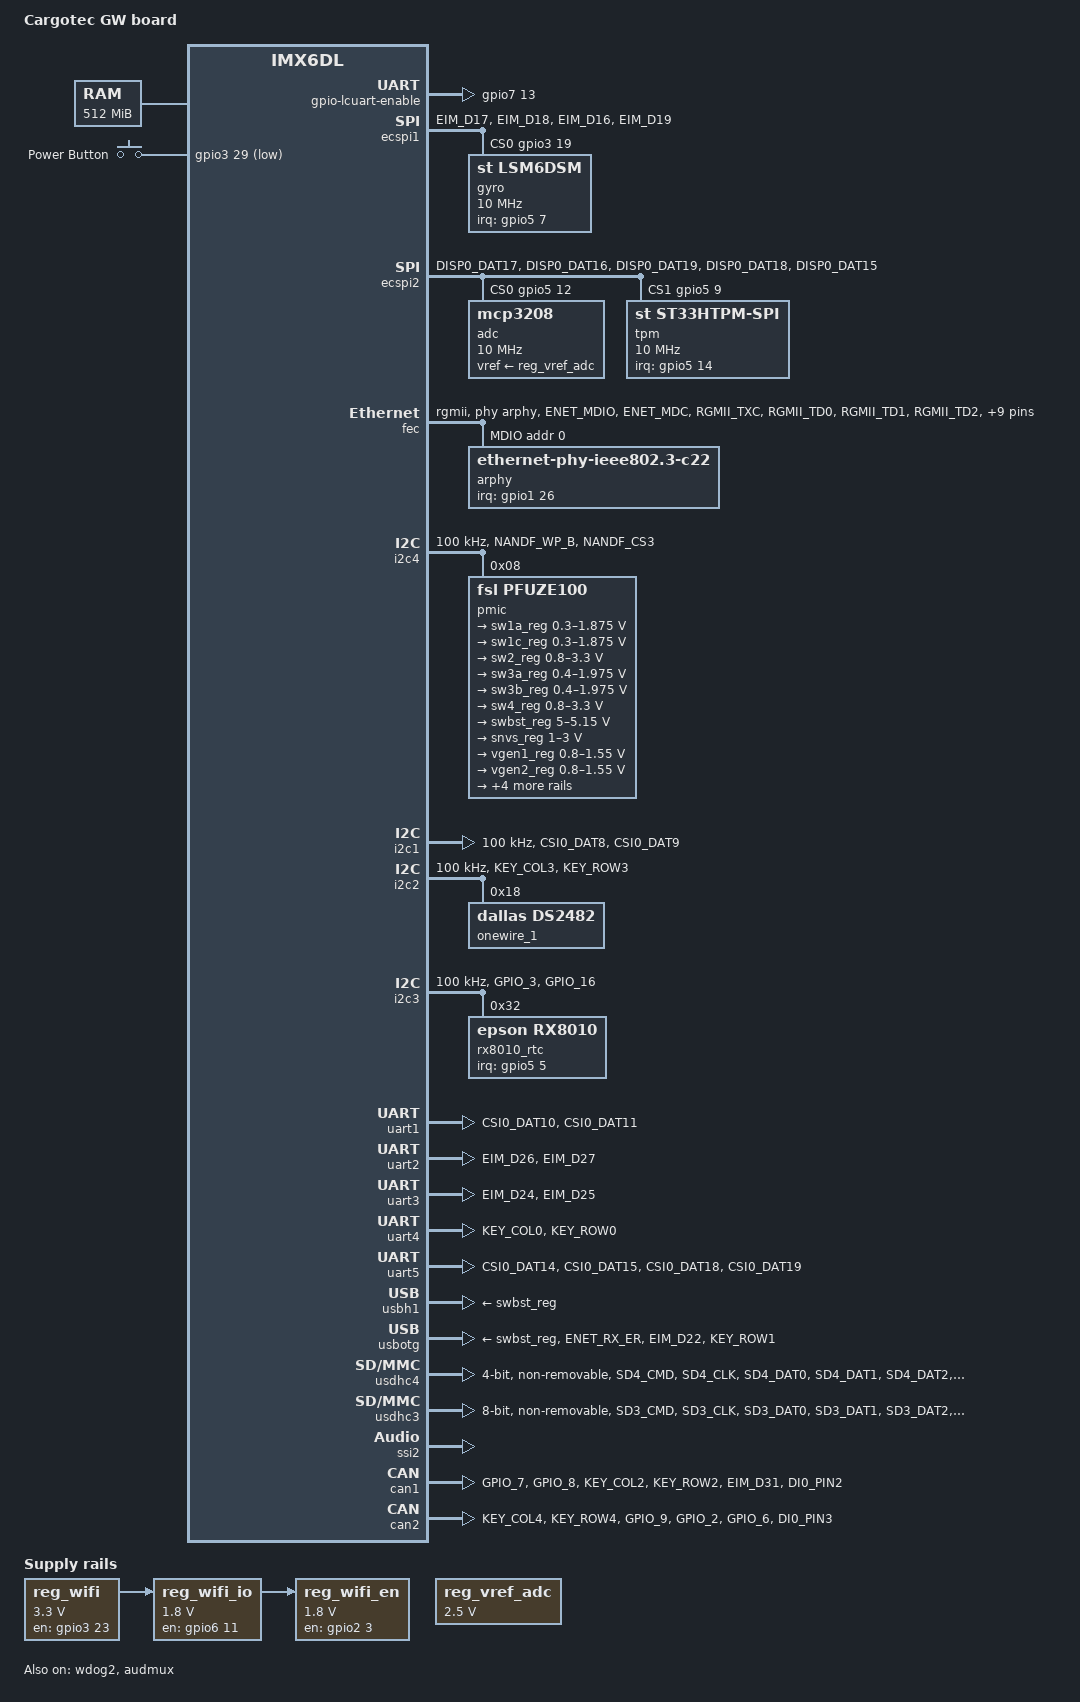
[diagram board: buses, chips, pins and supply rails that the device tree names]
/*
 * Copyright DATA RESPONS AS
 *
 * The code contained herein is licensed under the GNU General Public
 * License. You may obtain a copy of the GNU General Public License
 * Version 2 or later at the following locations:
 *
 * http://www.opensource.org/licenses/gpl-license.html
 * http://www.gnu.org/copyleft/gpl.html
 */

/dts-v1/;

#include "imx6dl.dtsi"
#include <dt-bindings/pwm/pwm.h>
#include <dt-bindings/gpio/gpio.h>

/ {
    model = "Cargotec GW board";
    compatible = "datarespons,laerdal2", "fsl,imx6dl";

    aliases {
        mmc0 = &usdhc3;
        mmc1 = &usdhc4;
        rtc0 = &rx8010_rtc;
    };

    memory {
        reg = <0x10000000 0x20000000>;
    };


    regulators {
        compatible = "simple-bus";


        reg_wifi: wifi_pwr {
            compatible = "regulator-fixed";
            regulator-name = "reg_wifi";
            regulator-min-microvolt = <3300000>;
            regulator-max-microvolt = <3300000>;
            gpio = <&gpio3 23 0>;
            enable-active-high;
            regulator-always-on;
        };

        reg_wifi_io: wifi_pwr_io {
            compatible = "regulator-fixed";
            regulator-name = "reg_wifi_io";
            regulator-min-microvolt = <1800000>;
            regulator-max-microvolt = <1800000>;
            gpio = <&gpio6 11 0>;
            enable-active-high;
            vin-supply = <&reg_wifi>;
            startup-delay-us = <100>;
            regulator-always-on;
        };

        reg_wifi_en: wifi_enable {
            compatible = "regulator-fixed";
            regulator-name = "reg_wifi_enable";
            regulator-min-microvolt = <1800000>;
            regulator-max-microvolt = <1800000>;
            gpio = <&gpio2 3 0>;
            enable-active-high;
            vin-supply = <&reg_wifi_io>;
            startup-delay-us = <300>;
            regulator-always-on;
        };

/*
        reg_bt_en: bt_enable {
            compatible = "regulator-fixed";
            regulator-name = "reg_bt_enable";
            regulator-min-microvolt = <1800000>;
            regulator-max-microvolt = <1800000>;
            gpio = <&gpio2 4 0>;
            enable-active-high;
            vin-supply = <&reg_wifi_io>;
            startup-delay-us = <300>;
            regulator-always-on;
        };
*/
	reg_vref_adc: regulator-vref-adc {
		compatible = "regulator-fixed";
		regulator-name = "vref-adc";
		regulator-min-microvolt = <2500000>;
		regulator-max-microvolt = <2500000>;
	};

    };

    gpio-keys {
        compatible = "gpio-keys";
        power {
            label = "Power Button";
            gpios = <&gpio3 29 GPIO_ACTIVE_LOW>;
            linux,code = <116>; /* KEY_POWER */
            gpio-key,wakeup;
        };

    };

    user-gpios {

        gpio-bt-enable {
            gpios = <&gpio2 4 GPIO_ACTIVE_HIGH>;
            status = "okay";
            value = <0>;
        };


        gpio-hw-setting2 {
            gpios = <&gpio4 21 GPIO_ACTIVE_HIGH>;
            status = "okay";
        };

        gpio-hw-setting1 {
            gpios = <&gpio4 22 GPIO_ACTIVE_HIGH>;
            status = "okay";
        };

        gpio-hw-setting0 {
            gpios = <&gpio4 23 GPIO_ACTIVE_HIGH>;
            status = "okay";
        };


        gpio-can1-en {
            gpios = <&gpio4 10 GPIO_ACTIVE_HIGH>;
            status = "okay";
            value = <0>;
        };

        gpio-can1-stb {
		gpios = <&gpio4 12 GPIO_ACTIVE_LOW>;
		status = "okay";
		value = <1>;
        };

        gpio-can1-resen {
		gpios = <&gpio3 31 GPIO_ACTIVE_HIGH>;
		status = "okay";
		value = <0>;
        };

        gpio-can1-wake {
		gpios = <&gpio4 18 GPIO_ACTIVE_HIGH>;
		status = "okay";
		value = <1>;
        };

        gpio-can2-en {
            gpios = <&gpio1 9 GPIO_ACTIVE_HIGH>;
            status = "okay";
            value = <0>;
        };

        gpio-can2-stb {
		gpios = <&gpio1 2 GPIO_ACTIVE_LOW>;
		status = "okay";
		value = <1>;
        };

        gpio-can2-resen {
		gpios = <&gpio1 6 GPIO_ACTIVE_HIGH>;
		status = "okay";
		value = <0>;
        };
        gpio-can2-wake {
		gpios = <&gpio4 19 GPIO_ACTIVE_HIGH>;
		status = "okay";
		value = <1>;
        };

        gpio-wlan-dev-wake {
            gpios = <&gpio2 7 GPIO_ACTIVE_HIGH>;
            status = "okay";
            value = <1>;
        };

        gpio-wifi-clk-req {
		gpios = <&gpio2 5 GPIO_ACTIVE_HIGH>;
		status = "okay";
		bidir;
        };

        gpio-wlan-host-wake {
            gpios = <&gpio2 6 GPIO_ACTIVE_HIGH>;
            status = "okay";
            bidir;
        };

        gpio-bt-host-wake {
            gpios = <&gpio6 7 GPIO_ACTIVE_LOW>;
            status = "okay";
            bidir;
        };

        gpio-bt-dev-wake {
            gpios = <&gpio6 8 GPIO_ACTIVE_LOW>;
            status = "okay";
            value = <1>;
        };

        gpio-phy-rst {
            gpios = <&gpio1 25 GPIO_ACTIVE_HIGH>;
            status = "okay";
            value = <1>;
        };

        gpio-tpm-nreset {
		gpios = <&gpio4 8 GPIO_ACTIVE_LOW>;
		status = "okay";
		value = <1>;
        };


        gpio-en-ani2 {
		gpios = <&gpio5 17 GPIO_ACTIVE_HIGH>;
		status = "okay";
		value = <0>;
        };

        gpio-en-ani1 {
		gpios = <&gpio5 16 GPIO_ACTIVE_HIGH>;
		status = "okay";
		value = <0>;
        };


        gpio-en-gpo1 {
		gpios = <&gpio4 24 GPIO_ACTIVE_HIGH>;
		status = "okay";
		value = <0>;
        };

        gpio-en-gpo2 {
		gpios = <&gpio4 25 GPIO_ACTIVE_HIGH>;
		status = "okay";
		value = <0>;
        };

        gpio-mcu-boot0 {
		gpios = <&gpio4 17 GPIO_ACTIVE_HIGH>;
		status = "okay";
        };

        gpio-gps-ant-en {
		gpios = <&gpio4 26 GPIO_ACTIVE_HIGH>;
		status = "okay";
		value = <0>;
        };

        gpio-nrst-wwan {
		gpios = <&gpio4 27 GPIO_ACTIVE_LOW>;
		status = "okay";
		value = <1>;
        };

        gpio-ndisable-wwan {
		gpios = <&gpio4 28 GPIO_ACTIVE_LOW>;
		status = "okay";
		value = <1>;
        };

        gpio-nwake-wwan {
		gpios = <&gpio4 29 GPIO_ACTIVE_LOW>;
		status = "okay";
        };

        gpio-led-wwan {
		gpios = <&gpio4 30 GPIO_ACTIVE_LOW>;
		status = "okay";
        };

        gpio-gpi1 {
		gpios = <&gpio1 12 GPIO_ACTIVE_HIGH>;
		status = "okay";
        };

        gpio-gpi2 {
		gpios = <&gpio1 14 GPIO_ACTIVE_HIGH>;
		status = "okay";
        };

        gpio-gpi3 {
		gpios = <&gpio1 13 GPIO_ACTIVE_HIGH>;
		status = "okay";
        };

        gpio-lcuart-enable {
		gpios = <&gpio7 13 GPIO_ACTIVE_HIGH>;
		value = <0>;
		status = "okay";
        };

        gpio-nint-mcu {
		gpios = <&gpio5 15 GPIO_ACTIVE_LOW>;
		value = <1>;
		status = "okay";
        };

    };

};


&ecspi1 {
    fsl,spi-num-chipselects = <1>;
    cs-gpios = <&gpio3 19 0>;
    pinctrl-names = "default";
    pinctrl-0 = <&pinctrl_ecspi1>;
    status = "okay";
    nodma;

	gyro: st-gyro-spi@0 {
		reg = <0>;
		compatible = "st,lsm6dsm";
		spi-max-frequency = <10000000>;
	interrupt-parent = <&gpio5>;
	interrupts = <7 IRQ_TYPE_EDGE_RISING>, <8 IRQ_TYPE_EDGE_RISING>;
	};
};

&ecspi2 {
    fsl,spi-num-chipselects = <2>;
    cs-gpios = <&gpio5 12 0 &gpio5 9 0>;
    pinctrl-names = "default";
    pinctrl-0 = <&pinctrl_ecspi2>;
    status = "okay";


    adc: mcp3208@0 {
	reg = <0>;
	compatible = "mcp3208";
	spi-max-frequency = <10000000>;
	vref-supply = <&reg_vref_adc>;
    };

    tpm: st33htpm-spi@1 {
	reg = <1>;
	compatible = "st,st33htpm-spi";
	spi-max-frequency = <10000000>;
	interrupt-parent = <&gpio5>;
	interrupts = <14 0>;
    };
};

&fec {
    pinctrl-names = "default";
    pinctrl-0 = <&pinctrl_enet_ctgw>;
    phy-mode = "rgmii";
    /* phy-reset-gpios = <&gpio1 25 GPIO_ACTIVE_LOW>; */
    status = "okay";
    /* phy-supply = <&vgen6_reg>; */
    phy-handle = <&arphy>;
    mdio {
       #address-cells = <1>;
       #size-cells = <0>;
       arphy: ethernet-phy@0 {
           compatible = "ethernet-phy-ieee802.3-c22";
           reg = <0x0>;
           max-speed = <100>;
           interrupt-parent = <&gpio1>;
           interrupts = <26 IRQ_TYPE_EDGE_FALLING>;
       };
    };
};



&gpc {
    fsl,ldo-bypass = <0>; /* use ldo-bypass, u-boot will check it and configure */
    fsl,wdog-reset = <1>; /* watchdog select of reset source */
};

&wdog1 {
    status = "disabled";
};

&wdog2 {
    status = "okay";
};

&i2c4 {
    clock-frequency = <100000>;
    pinctrl-names = "default";
    pinctrl-0 = <&pinctrl_i2c4>;
    status = "okay";

        pmic: pfuze100@08 {
        compatible = "fsl,pfuze100";
        reg = <0x08>;

        regulators {
            sw1a_reg: sw1ab {
                regulator-min-microvolt = <300000>;
                regulator-max-microvolt = <1875000>;
                regulator-boot-on;
                regulator-always-on;
                regulator-ramp-delay = <6250>;
            };

            sw1c_reg: sw1c {
                regulator-min-microvolt = <300000>;
                regulator-max-microvolt = <1875000>;
                regulator-boot-on;
                regulator-always-on;
                regulator-ramp-delay = <6250>;
            };

            sw2_reg: sw2 {
                regulator-min-microvolt = <800000>;
                regulator-max-microvolt = <3300000>;
                regulator-boot-on;
                regulator-always-on;
            };

            sw3a_reg: sw3a {
                regulator-min-microvolt = <400000>;
                regulator-max-microvolt = <1975000>;
                regulator-boot-on;
                regulator-always-on;
            };

            sw3b_reg: sw3b {
                regulator-min-microvolt = <400000>;
                regulator-max-microvolt = <1975000>;
                regulator-boot-on;
                regulator-always-on;
            };

            sw4_reg: sw4 {
                regulator-min-microvolt = <800000>;
                regulator-max-microvolt = <3300000>;
                regulator-boot-on;
                regulator-always-on;
            };

            swbst_reg: swbst {
                regulator-min-microvolt = <5000000>;
                regulator-max-microvolt = <5150000>;
                regulator-boot-on;
                regulator-always-on;
            };

            snvs_reg: vsnvs {
                regulator-min-microvolt = <1000000>;
                regulator-max-microvolt = <3000000>;
                regulator-boot-on;
                regulator-always-on;
            };

            vref_reg: vrefddr {
                regulator-boot-on;
                regulator-always-on;
            };

            vgen1_reg: vgen1 {
                regulator-min-microvolt = <800000>;
                regulator-max-microvolt = <1550000>;
            };

            vgen2_reg: vgen2 {
                regulator-min-microvolt = <800000>;
                regulator-max-microvolt = <1550000>;
            };

            vgen3_reg: vgen3 {
                regulator-min-microvolt = <1800000>;
                regulator-max-microvolt = <3300000>;
            };

            vgen4_reg: vgen4 {
                regulator-min-microvolt = <1800000>;
                regulator-max-microvolt = <3300000>;
                regulator-always-on;
            };

            vgen5_reg: vgen5 {
                regulator-min-microvolt = <1800000>;
                regulator-max-microvolt = <3300000>;
                regulator-always-on;
            };

            vgen6_reg: vgen6 {
                regulator-min-microvolt = <1800000>;
                regulator-max-microvolt = <3300000>;
                regulator-boot-on;
                regulator-always-on;
            };
        };
    };

};

&i2c1 {
    clock-frequency = <100000>;
    pinctrl-names = "default";
    pinctrl-0 = <&pinctrl_i2c1>;
    status = "okay";

};

&i2c2 {
    clock-frequency = <100000>;
    pinctrl-names = "default";
    pinctrl-0 = <&pinctrl_i2c2>;
    status = "okay";

    onewire_1: ds2482@18 {
	reg = <0x18>;
	compatible = "dallas,ds2482";
    };

};

&i2c3 {
    clock-frequency = <100000>;
    pinctrl-names = "default";
    pinctrl-0 = <&pinctrl_i2c3>;
    status = "okay";

    rx8010_rtc: rtc@32 {
		compatible = "epson,rx8010";
		reg = <0x32>;
		interrupt-parent = <&gpio5>;
		interrupts = <5 IRQ_TYPE_LEVEL_HIGH>;
	};
};


&iomuxc {
    pinctrl-names = "default";
    pinctrl-0 = <&pinctrl_hog_1>;

    hog {
        pinctrl_hog_1: hoggrp-1 {
            fsl,pins = <
		MX6QDL_PAD_DISP0_DAT0__GPIO4_IO21	0x80000000		/* HW Setting 0 */
		MX6QDL_PAD_DISP0_DAT1__GPIO4_IO22	0x80000000		/* HW Setting 1 */
		MX6QDL_PAD_DISP0_DAT2__GPIO4_IO23	0x80000000		/* HW Setting 2 */
                MX6QDL_PAD_GPIO_0__CCM_CLKO1        0x130b0         /* External audio clk */
                MX6QDL_PAD_GPIO_1__WDOG2_B	        0x80000000
                MX6QDL_PAD_GPIO_18__GPIO7_IO13      0x00000068		/* GP-EN--ISO_UART */
                MX6QDL_PAD_NANDF_CLE__GPIO6_IO07    0x80000000      /* GP--BT_HOST_WAKE */
                MX6QDL_PAD_NANDF_CS0__GPIO6_IO11    0x80000000      /* GP--WL_VDDIO_EN */
                MX6QDL_PAD_NANDF_ALE__GPIO6_IO08    0x1b8b1         /* GP--BT_WAKE */
                MX6QDL_PAD_NANDF_RB0__GPIO6_IO10    0x0001b000      /* PMIC_INT_B */
                MX6QDL_PAD_NANDF_D3__GPIO2_IO03     0x80000000      /* WL_REG_ON (WiFI power) */
                MX6QDL_PAD_NANDF_D4__GPIO2_IO04     0x80000000      /* BT_REG_ON (Bluetooth power) */
                MX6QDL_PAD_NANDF_D5__GPIO2_IO05     0x0001b000      /* WL_IRQ (WiFI interrupt */
                MX6QDL_PAD_NANDF_D6__GPIO2_IO06     0x1b0b1         /* GP--WL_HOST_WAKE */
                MX6QDL_PAD_NANDF_D7__GPIO2_IO07     0x1b8b1         /* GP--WL_DEV_WAKE */

                MX6QDL_PAD_EIM_D23__GPIO3_IO23      0x80000000      /* GP--WL_BAT_PWR_EN */
                MX6QDL_PAD_EIM_D29__GPIO3_IO29      0x0001b000      /* PPWR_BTN_SNS */
                MX6QDL_PAD_ENET_CRS_DV__GPIO1_IO25  0x80000000	    /* Phy reset (low) */
                MX6QDL_PAD_ENET_RXD1__GPIO1_IO26    0x80000000      /* Phy IRQ */
                MX6QDL_PAD_DISP0_DAT21__GPIO5_IO15	0x1b060			/* GP_NINT_MCU */
                MX6QDL_PAD_DISP0_DAT23__GPIO5_IO17	0x00002060		/* EN_ANI2 */
                MX6QDL_PAD_DISP0_DAT22__GPIO5_IO16	0x00002060		/* EN_ANI1 */
                MX6QDL_PAD_DISP0_DAT5__GPIO4_IO26	0x00002060		/* GP_EN_PWR--ANT_GPS */
				MX6QDL_PAD_DISP0_DAT6__GPIO4_IO27	0x0000b0b0 		/* GP_nPRST_WWAN */
				MX6QDL_PAD_DISP0_DAT7__GPIO4_IO28	0x0000b0b0		/* GP_nDISABLE_WWAN   */
				MX6QDL_PAD_DISP0_DAT8__GPIO4_IO29	0x0000b0b0		/* GP_nWAKE_L--WWAN   */
				MX6QDL_PAD_DISP0_DAT9__GPIO4_IO30	0x00002060		/* LED_nWWAN   */
				MX6QDL_PAD_DISP0_DAT3__GPIO4_IO24	0x00000060		/* GP_EN--GPO1  */
				MX6QDL_PAD_DISP0_DAT4__GPIO4_IO25	0x00000060		/* GP_EN--GPO2  */
				MX6QDL_PAD_DISP0_DAT10__GPIO4_IO31 	0x1b060			/* GP_Status--CPU */
				MX6QDL_PAD_DISP0_DAT20__GPIO5_IO14 	0x1b040			/* TPM nIRQ */
	            MX6QDL_PAD_KEY_COL1__GPIO4_IO08 	0x1b060			/* TPM nRESET */
	            MX6QDL_PAD_DISP0_DAT13__GPIO5_IO07 	0x1b040			/* Gyro IRQ */
	            MX6QDL_PAD_DISP0_DAT14__GPIO5_IO08 	0x1b040			/* Gyro IRQ */
				MX6QDL_PAD_DISP0_DAT11__GPIO5_IO05 	0x1b040			/* RTC */
	            MX6QDL_PAD_DISP0_DAT12__GPIO5_IO06 	0x1b040			/* RTC */
                MX6QDL_PAD_SD2_DAT3__GPIO1_IO12     0x12000			/* GPI_1 */
                MX6QDL_PAD_SD2_DAT1__GPIO1_IO14     0x12000			/* GPI_2 */
                MX6QDL_PAD_SD2_DAT2__GPIO1_IO13     0x12000			/* GPI_3 */
            >;
        };
    };

    ecspi1 {
        pinctrl_ecspi1: ecspi1grp {
            fsl,pins = <
                MX6QDL_PAD_EIM_D17__ECSPI1_MISO 0x100b1
                MX6QDL_PAD_EIM_D18__ECSPI1_MOSI 0x100b1
                MX6QDL_PAD_EIM_D16__ECSPI1_SCLK 0x100b1
                MX6QDL_PAD_EIM_D19__GPIO3_IO19  0x100b1
            >;
        };
    };

    ecspi2 {
        pinctrl_ecspi2: ecspi2grp {
            fsl,pins = <
                MX6QDL_PAD_DISP0_DAT17__ECSPI2_MISO  0x100b1
                MX6QDL_PAD_DISP0_DAT16__ECSPI2_MOSI 0x100b1
                MX6QDL_PAD_DISP0_DAT19__ECSPI2_SCLK 0x100b1
                MX6QDL_PAD_DISP0_DAT18__GPIO5_IO12  0x100b1
                MX6QDL_PAD_DISP0_DAT15__GPIO5_IO09  0x100b1
            >;
        };
    };

    flexcan1 {
	pinctrl_flexcan1: flexcan1grp {
		fsl,pins = <
			MX6QDL_PAD_GPIO_7__FLEXCAN1_TX 	0x1b0b1
			MX6QDL_PAD_GPIO_8__FLEXCAN1_RX	0x1b0b1
			MX6QDL_PAD_KEY_COL2__GPIO4_IO10	0x80000000		/* CAN1_EN */
		MX6QDL_PAD_KEY_ROW2__GPIO4_IO11	0x80000000		/* CAN1_STB */
		MX6QDL_PAD_EIM_D31__GPIO3_IO31  0x00000068		/* GP_CAN1_RES_EN */
		MX6QDL_PAD_DI0_PIN2__GPIO4_IO18	0x1b0b1			/* CAN1_WAKE */
		>;
	};
    };


	flexcan2 {
	pinctrl_flexcan2: flexcan2grp {
		fsl,pins = <
			MX6QDL_PAD_KEY_COL4__FLEXCAN2_TX 	0x1b0b1
			MX6QDL_PAD_KEY_ROW4__FLEXCAN2_RX	0x1b0b1
			MX6QDL_PAD_GPIO_9__GPIO1_IO09	0x80000000		/* CAN2_EN */
		MX6QDL_PAD_GPIO_2__GPIO1_IO02	0x80000000		/* CAN2_STB */
		MX6QDL_PAD_GPIO_6__GPIO1_IO06	0x00000068		/* CAN2_RES */
		MX6QDL_PAD_DI0_PIN3__GPIO4_IO19	0x1b0b1			/* CAN2_WAKE */
		>;
	};
    };

    uart1 {
        pinctrl_uart1: uart1grp {
            fsl,pins = <
                MX6QDL_PAD_CSI0_DAT10__UART1_TX_DATA    0x1b0b1
                MX6QDL_PAD_CSI0_DAT11__UART1_RX_DATA    0x1b0b1
            >;
        };
    };

    uart2 {
        pinctrl_uart2: uart2grp {
            fsl,pins = <
                MX6QDL_PAD_EIM_D26__UART2_TX_DATA    0x1b0b1
                MX6QDL_PAD_EIM_D27__UART2_RX_DATA    0x1b0b1
            >;
        };
    };

    uart3 {
        pinctrl_uart3: uart3grp {
            fsl,pins = <
                MX6QDL_PAD_EIM_D24__UART3_TX_DATA   0x1b0b1
                MX6QDL_PAD_EIM_D25__UART3_RX_DATA   0x1b0b1
            >;
        };
    };

    uart4 {
        pinctrl_uart4: uart4grp {
            fsl,pins = <
                MX6QDL_PAD_KEY_COL0__UART4_TX_DATA  0x1b0b1
                MX6QDL_PAD_KEY_ROW0__UART4_RX_DATA  0x1b0b1
            >;
        };
    };

    pwm1 {
        pinctrl_pwm1: pwm1grp {
            fsl,pins = <
                MX6QDL_PAD_SD1_DAT3__PWM1_OUT       0x1b0f1
            >;
        };
    };

    pwm2 {
        pinctrl_pwm2: pwm2grp {
            fsl,pins = <
                MX6QDL_PAD_SD1_DAT2__PWM2_OUT 0x1b0b1
            >;
        };
    };

    pwm3 {
        pinctrl_pwm3_lb: pwm3grp-lb {
            fsl,pins = <
                MX6QDL_PAD_SD1_DAT1__PWM3_OUT 0x1b0b1
            >;
        };
    };

    usbotg {
        pinctrl_usbotg: usbotggrp {
            fsl,pins = <
                MX6QDL_PAD_ENET_RX_ER__USB_OTG_ID   0x17059
                MX6QDL_PAD_EIM_D22__USB_OTG_PWR		0x80000000
                MX6QDL_PAD_KEY_ROW1__GPIO4_IO09		0x17059
            >;
        };
    };

    usdhc3 {
        pinctrl_usdhc3: usdhc3grp {
            fsl,pins = <
                MX6QDL_PAD_SD3_CMD__SD3_CMD     	0x17059
                MX6QDL_PAD_SD3_CLK__SD3_CLK     	0x10059
                MX6QDL_PAD_SD3_DAT0__SD3_DATA0      0x17059
                MX6QDL_PAD_SD3_DAT1__SD3_DATA1      0x17059
                MX6QDL_PAD_SD3_DAT2__SD3_DATA2      0x17059
                MX6QDL_PAD_SD3_DAT3__SD3_DATA3      0x17059
                MX6QDL_PAD_SD3_DAT4__SD3_DATA4      0x17059
                MX6QDL_PAD_SD3_DAT5__SD3_DATA5      0x17059
                MX6QDL_PAD_SD3_DAT6__SD3_DATA6      0x17059
                MX6QDL_PAD_SD3_DAT7__SD3_DATA7      0x17059
                MX6QDL_PAD_SD3_RST__SD3_RESET     	0x17059
            >;
        };
    };

    usdhc4 {
        pinctrl_usdhc4: usdhc4grp {
            fsl,pins = <
                MX6QDL_PAD_SD4_CMD__SD4_CMD     	0x17059
                MX6QDL_PAD_SD4_CLK__SD4_CLK     	0x10059
                MX6QDL_PAD_SD4_DAT0__SD4_DATA0      0x17059
                MX6QDL_PAD_SD4_DAT1__SD4_DATA1      0x17059
                MX6QDL_PAD_SD4_DAT2__SD4_DATA2      0x17059
                MX6QDL_PAD_SD4_DAT3__SD4_DATA3      0x17059
            >;
        };
    };

    audmux {
        pinctrl_audmux: audmuxgrp {
            fsl,pins = <
                MX6QDL_PAD_CSI0_DAT7__AUD3_RXD      0x130b0
                MX6QDL_PAD_CSI0_DAT4__AUD3_TXC      0x130b0
                MX6QDL_PAD_CSI0_DAT5__AUD3_TXD      0x110b0
                MX6QDL_PAD_CSI0_DAT6__AUD3_TXFS     0x130b0
            >;
        };
    };

    i2c1 {
        pinctrl_i2c1: i2c1grp {
            fsl,pins = <
                MX6QDL_PAD_CSI0_DAT8__I2C1_SDA      0x4001b8b1
                MX6QDL_PAD_CSI0_DAT9__I2C1_SCL      0x4001b8b1
            >;
        };
    };


    i2c2 {
        pinctrl_i2c2: i2c2grp {
            fsl,pins = <
                MX6QDL_PAD_KEY_COL3__I2C2_SCL 0x4001b8b1
                MX6QDL_PAD_KEY_ROW3__I2C2_SDA 0x4001b8b1
            >;
        };
    };

    i2c3 {
        pinctrl_i2c3: i2c3grp {
            fsl,pins = <
                MX6QDL_PAD_GPIO_3__I2C3_SCL 0x4001b8b1
                MX6QDL_PAD_GPIO_16__I2C3_SDA 0x4001b8b1
            >;
        };
    };

    i2c4 {
        pinctrl_i2c4: i2c4grp {
            fsl,pins = <
                MX6QDL_PAD_NANDF_WP_B__I2C4_SCL 0x4001b8b1
                MX6QDL_PAD_NANDF_CS3__I2C4_SDA 0x4001b8b1
            >;
        };
    };

    enet {
        pinctrl_enet_ctgw: enetgrp-lb2 {
            fsl,pins = <
                MX6QDL_PAD_ENET_MDIO__ENET_MDIO       0x1b0b0
                MX6QDL_PAD_ENET_MDC__ENET_MDC         0x1b0b0
                MX6QDL_PAD_RGMII_TXC__RGMII_TXC       0x1b0b0
                MX6QDL_PAD_RGMII_TD0__RGMII_TD0       0x1b0b0
                MX6QDL_PAD_RGMII_TD1__RGMII_TD1       0x1b0b0
                MX6QDL_PAD_RGMII_TD2__RGMII_TD2       0x1b0b0
                MX6QDL_PAD_RGMII_TD3__RGMII_TD3       0x1b0b0
                MX6QDL_PAD_RGMII_TX_CTL__RGMII_TX_CTL 0x1b0b0
                MX6QDL_PAD_ENET_REF_CLK__ENET_TX_CLK  0x40000000
                MX6QDL_PAD_RGMII_RXC__RGMII_RXC       0x1b0b0
                MX6QDL_PAD_RGMII_RD0__RGMII_RD0       0x1b0b0
                MX6QDL_PAD_RGMII_RD1__RGMII_RD1       0x1b0b0
                MX6QDL_PAD_RGMII_RD2__RGMII_RD2       0x1b0b0
                MX6QDL_PAD_RGMII_RD3__RGMII_RD3       0x1b0b0
                MX6QDL_PAD_RGMII_RX_CTL__RGMII_RX_CTL 0x1b0b0
            >;
        };
    };

    uart5 {
        pinctrl_uart5_ctgw: uart5grp-ctgw {
        fsl,pins = <
            MX6QDL_PAD_CSI0_DAT14__UART5_TX_DATA 0x1b0b1
            MX6QDL_PAD_CSI0_DAT15__UART5_RX_DATA 0x1b0b1
            MX6QDL_PAD_CSI0_DAT18__UART5_RTS_B   0x1b0b1
            MX6QDL_PAD_CSI0_DAT19__UART5_CTS_B   0x1b0b1
        >;
        };

        pinctrl_uart5_dte_ctgw: uart5grp-dte_ctgw {
        fsl,pins = <
            MX6QDL_PAD_CSI0_DAT14__UART5_RX_DATA 0x1b0b1
            MX6QDL_PAD_CSI0_DAT15__UART5_TX_DATA 0x1b0b1
            MX6QDL_PAD_CSI0_DAT18__UART5_CTS_B   0x1b0b1
            MX6QDL_PAD_CSI0_DAT19__UART5_RTS_B   0x1b0b1
        >;
        };
    };
};

&ldb {
    status = "disabled";
};

&pcie {
    status = "disabled";
};

&uart1 {
    pinctrl-names = "default";
    pinctrl-0 = <&pinctrl_uart1>;
    status = "okay";
};

&uart2 {
	pinctrl-names = "default";
    pinctrl-0 = <&pinctrl_uart2>;
    status = "okay";
};

&uart3 {
    pinctrl-names = "default";
    pinctrl-0 = <&pinctrl_uart3>;
    status = "okay";
};

&uart4 {
    pinctrl-names = "default";
    pinctrl-0 = <&pinctrl_uart4>;
    status = "okay";
};


&uart5 {
    pinctrl-names = "default";
    pinctrl-0 = <&pinctrl_uart5_ctgw>;
    fsl,uart-has-rtscts;
    status = "okay";
};

&usbh1 {
    vbus-supply = <&swbst_reg>;
    status = "okay";
};

&usbotg {
    pinctrl-names = "default";
    pinctrl-0 = <&pinctrl_usbotg>;
    status = "okay";
    vbus-supply = <&swbst_reg>;
    disable-over-current;
};

&usdhc1 {
    status = "disabled";
};

&usdhc2 {
    status = "disabled";
};

&usdhc4 {
    pinctrl-names = "default";
    pinctrl-0 = <&pinctrl_usdhc4>;
    bus-width = <4>;
    non-removable;
    keep-power-in-suspend;
    enable-sdio-wakeup;
    status = "okay";
};

&usdhc3 {
    compatible = "fsl,imx6sl-usdhc";
    pinctrl-names = "default";
    pinctrl-0 = <&pinctrl_usdhc3>;
    bus-width = <8>;
    non-removable;
    no-1-8-v;
    keep-power-in-suspend;
    status = "okay";
};


&pwm1 {
    status = "disabled";
};

&pwm2 {
    status = "disabled";
};

&pwm3 {
    status = "disabled";
};

&pwm4 {
    status = "disabled";
};

&epdc {
    status = "disabled";
};

&audmux {
    pinctrl-names = "default";
    pinctrl-0 = <&pinctrl_audmux>;
    status = "okay";
};

&ssi2 {
    fsl,mode = "i2s-slave";
    status = "okay";
};

&ipu1 {
    status = "disabled";
};

&can1 {
	pinctrl-names = "default";
    pinctrl-0 = <&pinctrl_flexcan1>;
    status = "okay";
};

&can2 {
	pinctrl-names = "default";
    pinctrl-0 = <&pinctrl_flexcan2>;
    status = "okay";
};

&snvs_poweroff {
	status = "okay";
};
